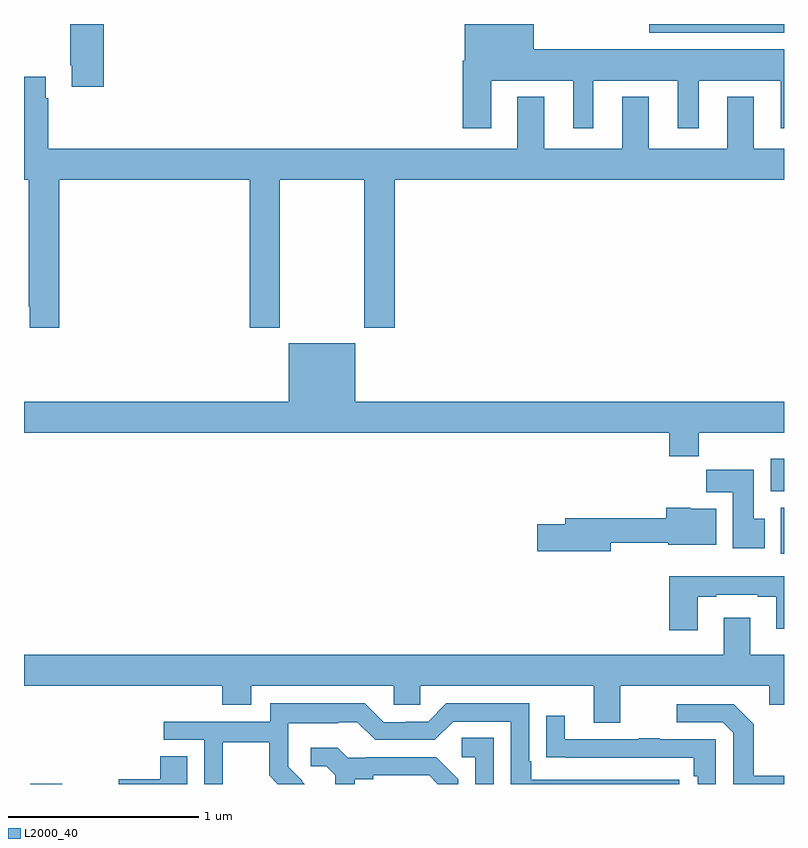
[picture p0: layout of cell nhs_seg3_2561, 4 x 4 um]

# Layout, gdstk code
import gdstk
lib = gdstk.Library(unit=1e-6, precision=1e-09)
def R(c, l, rs):  # rectangles x0, y0, x1, y1
    for r in rs: c.add(gdstk.rectangle(r[:2], r[2:], *l))
def P(c, l, *ps):  # polygons
    for p in ps: c.add(gdstk.Polygon(p, *l))
L2000_40 = (2000, 40)

nhs_seg3_2561 = lib.new_cell('nhs_seg3_2561')
R(nhs_seg3_2561, L2000_40, [(243.032,700.4,243.202,700.402), (246.983,701.612,247,701.854), (246.929,701.942,247,702.112), (246.291,704.354,247,704.4)])
P(nhs_seg3_2561, L2000_40, [(245.458,704.102),(245.891,704.102),(245.891,703.851),(245.995,703.851),(245.995,704.102),(246.44,704.102),(246.44,703.851),(246.55,703.851),(246.55,704.102),(246.983,704.102),(246.983,703.851),(247,703.851),(247,704.266),(245.683,704.266),(245.683,704.4),(245.321,704.4),(245.321,704.206),(245.309,704.206),(245.309,703.851),(245.458,703.851)],
  [(243.419,704.4),(243.244,704.4),(243.244,704.182),(243.251,704.182),(243.251,704.07),(243.419,704.07)],
  [(243.185,703.58),(244.187,703.58),(244.187,702.801),(244.347,702.801),(244.347,703.58),(244.792,703.58),(244.792,702.801),(244.952,702.801),(244.952,703.58),(247,703.58),(247,703.744),(246.841,703.744),(246.841,704.017),(246.701,704.017),(246.701,703.744),(246.289,703.744),(246.289,704.017),(246.149,704.017),(246.149,703.744),(245.737,703.744),(245.737,704.017),(245.597,704.017),(245.597,703.744),(243.128,703.744),(243.128,704.009),(243.115,704.009),(243.115,704.122),(243,704.122),(243,703.58),(243.025,703.58),(243.025,702.913),(243.029,702.913),(243.029,702.801),(243.185,702.801)],
  [(246.551,702.248),(247,702.248),(247,702.412),(244.744,702.412),(244.744,702.721),(244.394,702.721),(244.394,702.412),(243,702.412),(243,702.248),(246.395,702.248),(246.395,702.124),(246.551,702.124)],
  [(246.898,701.796),(246.841,701.796),(246.841,702.054),(246.592,702.054),(246.592,701.936),(246.731,701.936),(246.731,701.64),(246.898,701.64)],
  [(246.088,701.671),(246.392,701.671),(246.392,701.66),(246.643,701.66),(246.643,701.848),(246.51,701.848),(246.51,701.854),(246.38,701.854),(246.38,701.8),(245.849,701.8),(245.849,701.766),(245.7,701.766),(245.7,701.624),(246.088,701.624)],
  [(246.547,701.385),(246.643,701.385),(246.643,701.397),(246.863,701.397),(246.863,701.385),(246.959,701.385),(246.959,701.216),(247,701.216),(247,701.494),(246.395,701.494),(246.395,701.208),(246.547,701.208)],
  [(246.139,700.916),(246.923,700.916),(246.923,700.817),(247,700.817),(247,701.08),(246.823,701.08),(246.823,701.275),(246.683,701.275),(246.683,701.08),(243,701.08),(243,700.916),(244.043,700.916),(244.043,700.817),(244.195,700.817),(244.195,700.916),(244.947,700.916),(244.947,700.818),(245.085,700.818),(245.085,700.916),(245.999,700.916),(245.999,700.722),(246.139,700.722)],
  [(244.047,700.62),(244.291,700.62),(244.291,700.445),(244.336,700.4),(244.478,700.4),(244.463,700.415),(244.464,700.416),(244.39,700.49),(244.39,700.587),(244.392,700.587),(244.392,700.721),(244.655,700.721),(244.655,700.725),(244.755,700.725),(244.848,700.632),(245.163,700.632),(245.259,700.728),(245.562,700.728),(245.562,700.4),(246.448,700.4),(246.448,700.422),(245.671,700.422),(245.671,700.519),(245.658,700.519),(245.658,700.824),(245.223,700.824),(245.127,700.728),(245.009,700.728),(245.009,700.725),(244.893,700.725),(244.793,700.825),(244.296,700.825),(244.296,700.728),(243.735,700.728),(243.735,700.632),(243.948,700.632),(243.948,700.4),(244.047,700.4)],
  [(247,700.443),(246.841,700.443),(246.841,700.715),(246.735,700.821),(246.435,700.821),(246.435,700.725),(246.678,700.725),(246.732,700.671),(246.732,700.4),(247,700.4)],
  [(246.642,700.635),(246.347,700.635),(246.347,700.64),(246.235,700.64),(246.235,700.635),(245.845,700.635),(245.845,700.759),(245.749,700.759),(245.749,700.54),(245.851,700.54),(245.851,700.539),(246.526,700.539),(246.526,700.442),(246.546,700.442),(246.546,700.4),(246.642,700.4)],
  [(245.472,700.643),(245.304,700.643),(245.304,700.542),(245.376,700.542),(245.376,700.4),(245.472,700.4)],
  [(244.741,700.424),(244.837,700.424),(244.837,700.446),(245.132,700.446),(245.178,700.4),(245.286,700.4),(245.286,700.426),(245.17,700.542),(244.798,700.542),(244.798,700.539),(244.704,700.539),(244.652,700.591),(244.509,700.591),(244.509,700.494),(244.59,700.494),(244.637,700.447),(244.637,700.4),(244.741,700.4)],
  [(243.859,700.547),(243.716,700.547),(243.716,700.424),(243.498,700.424),(243.498,700.4),(243.859,700.4)])

lib.write_gds('nhs_seg3_2561.gds')
